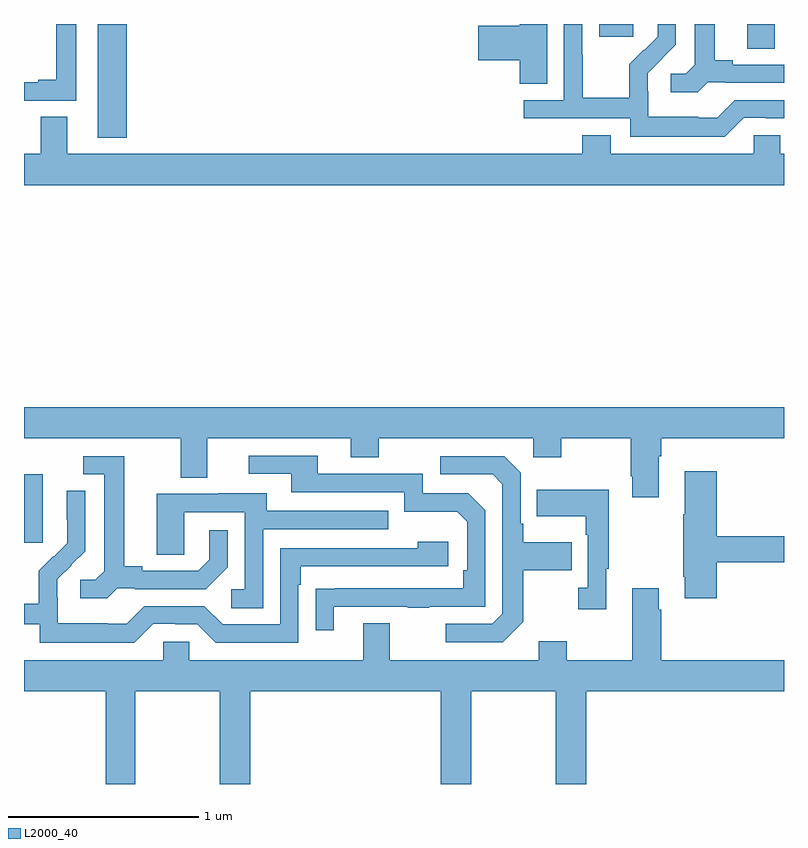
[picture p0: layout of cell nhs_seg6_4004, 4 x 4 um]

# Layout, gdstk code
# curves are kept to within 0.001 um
import gdstk
lib = gdstk.Library(unit=1e-6, precision=1e-09)
def R(c, l, rs):  # rectangles x0, y0, x1, y1
    for r in rs: c.add(gdstk.rectangle(r[:2], r[2:], *l))
def P(c, l, *ps):  # polygons
    for p in ps: c.add(gdstk.Polygon(p, *l))
L2000_40 = (2000, 40)

nhs_seg6_4004 = lib.new_cell('nhs_seg6_4004')
R(nhs_seg6_4004, L2000_40, [(347,962.769,347.098,963.13), (347.387,964.901,347.54,965.5), (350.807,965.371,350.952,965.5), (350.027,965.433,350.206,965.5)])
P(nhs_seg6_4004, L2000_40, [(350.787,965.007),(350.903,965.007),(350.903,965.004),(351,965.004),(351,965.1),(350.742,965.1),(350.649,965.007),(350.549,965.007),(350.549,965.011),(350.286,965.011),(350.286,965.145),(350.284,965.145),(350.284,965.242),(350.43,965.39),(350.43,965.5),(350.336,965.5),(350.336,965.432),(350.265,965.361),(350.262,965.364),(350.185,965.287),(350.185,965.113),(349.941,965.113),(349.941,965.336),(349.938,965.336),(349.938,965.5),(349.842,965.5),(349.842,965.1),(349.629,965.1),(349.629,965.004),(350.19,965.004),(350.19,964.907),(350.687,964.907)],
  [(350.598,965.193),(350.692,965.193),(350.692,965.19),(351,965.19),(351,965.286),(350.731,965.286),(350.731,965.309),(350.635,965.309),(350.635,965.5),(350.531,965.5),(350.531,965.285),(350.484,965.238),(350.403,965.238),(350.403,965.141),(350.546,965.141)],
  [(349.753,965.5),(349.61,965.5),(349.61,965.492),(349.392,965.492),(349.392,965.309),(349.61,965.309),(349.61,965.185),(349.753,965.185)],
  [(347.275,965.5),(347.171,965.5),(347.171,965.206),(347.075,965.206),(347.075,965.193),(347,965.193),(347,965.097),(347.275,965.097)],
  [(351,964.816),(350.979,964.816),(350.979,964.914),(350.841,964.914),(350.841,964.816),(350.089,964.816),(350.089,964.915),(349.937,964.915),(349.937,964.816),(347.227,964.816),(347.227,965.011),(347.087,965.011),(347.087,964.816),(347,964.816),(347,964.652),(351,964.652)],
  [(350.341,963.224),(350.354,963.224),(350.354,963.32),(351,963.32),(351,963.484),(347,963.484),(347,963.32),(347.825,963.32),(347.825,963.112),(347.965,963.112),(347.965,963.32),(348.719,963.32),(348.719,963.221),(348.867,963.221),(348.867,963.32),(349.68,963.32),(349.68,963.221),(349.827,963.221),(349.827,963.32),(350.194,963.32),(350.194,963.121),(350.201,963.121),(350.201,963.009),(350.341,963.009)],
  [(348.631,962.433),(349.021,962.433),(349.021,962.428),(349.133,962.428),(349.133,962.433),(349.428,962.433),(349.428,962.94),(349.338,963.03),(349.098,963.03),(349.098,963.132),(348.547,963.132),(348.547,963.228),(348.183,963.228),(348.183,963.132),(348.407,963.132),(348.407,963.036),(349.002,963.036),(349.002,962.933),(349.279,962.933),(349.332,962.88),(349.332,962.626),(349.312,962.626),(349.312,962.529),(348.535,962.528),(348.535,962.31),(348.631,962.31)],
  [(349.627,962.353),(349.627,962.626),(349.883,962.626),(349.883,962.773),(349.627,962.773),(349.627,962.869),(349.614,962.869),(349.614,963.138),(349.527,963.225),(349.191,963.225),(349.191,963.129),(349.467,963.129),(349.518,963.078),(349.518,962.397),(349.464,962.343),(349.221,962.343),(349.221,962.247),(349.521,962.247)],
  [(347.49,962.529),(347.584,962.529),(347.584,962.526),(347.956,962.526),(348.072,962.642),(348.072,962.836),(347.975,962.836),(347.975,962.679),(347.918,962.622),(347.623,962.622),(347.623,962.645),(347.527,962.645),(347.527,963.225),(347.313,963.225),(347.313,963.129),(347.423,963.129),(347.423,962.621),(347.376,962.574),(347.295,962.574),(347.295,962.477),(347.438,962.477)],
  [(350.645,962.668),(351,962.668),(351,962.804),(350.645,962.804),(350.645,963.145),(350.477,963.145),(350.477,962.921),(350.47,962.921),(350.47,962.59),(350.477,962.59),(350.477,962.478),(350.645,962.478)],
  [(350.065,962.633),(350.077,962.633),(350.077,963.049),(349.699,963.049),(349.699,962.909),(349.956,962.909),(349.956,962.813),(349.968,962.813),(349.968,962.534),(349.917,962.534),(349.917,962.421),(350.065,962.421)],
  [(347.679,962.343),(347.795,962.343),(347.795,962.34),(347.913,962.34),(348.009,962.244),(348.444,962.244),(348.444,962.549),(348.457,962.549),(348.457,962.646),(349.234,962.646),(349.234,962.776),(349.073,962.776),(349.073,962.742),(348.348,962.742),(348.348,962.34),(348.045,962.34),(347.949,962.436),(347.634,962.436),(347.541,962.343),(347.441,962.343),(347.441,962.347),(347.178,962.347),(347.178,962.481),(347.176,962.481),(347.176,962.578),(347.322,962.726),(347.322,963.044),(347.226,963.044),(347.226,962.89),(347.228,962.89),(347.228,962.768),(347.157,962.697),(347.154,962.7),(347.077,962.623),(347.077,962.449),(347,962.449),(347,962.34),(347.082,962.34),(347.082,962.243),(347.579,962.243)],
  [(348.258,962.841),(348.917,962.841),(348.917,962.937),(348.277,962.937),(348.277,963.031),(348.023,963.031),(348.023,963.027),(347.699,963.027),(347.699,962.707),(347.844,962.707),(347.844,962.931),(348.162,962.931),(348.162,962.526),(348.09,962.526),(348.09,962.425),(348.258,962.425)],
  [(347.586,961.988),(348.031,961.988),(348.031,961.5),(348.191,961.5),(348.191,961.988),(349.193,961.988),(349.193,961.5),(349.353,961.5),(349.353,961.988),(349.798,961.988),(349.798,961.5),(349.958,961.5),(349.958,961.988),(351,961.988),(351,962.152),(350.354,962.152),(350.354,962.417),(350.341,962.417),(350.341,962.53),(350.201,962.53),(350.201,962.152),(349.857,962.152),(349.857,962.251),(349.709,962.251),(349.709,962.152),(348.925,962.152),(348.925,962.347),(348.785,962.347),(348.785,962.152),(347.871,962.152),(347.871,962.25),(347.733,962.25),(347.733,962.152),(347,962.152),(347,961.988),(347.431,961.988),(347.431,961.5),(347.586,961.5)])

lib.write_gds('nhs_seg6_4004.gds')
